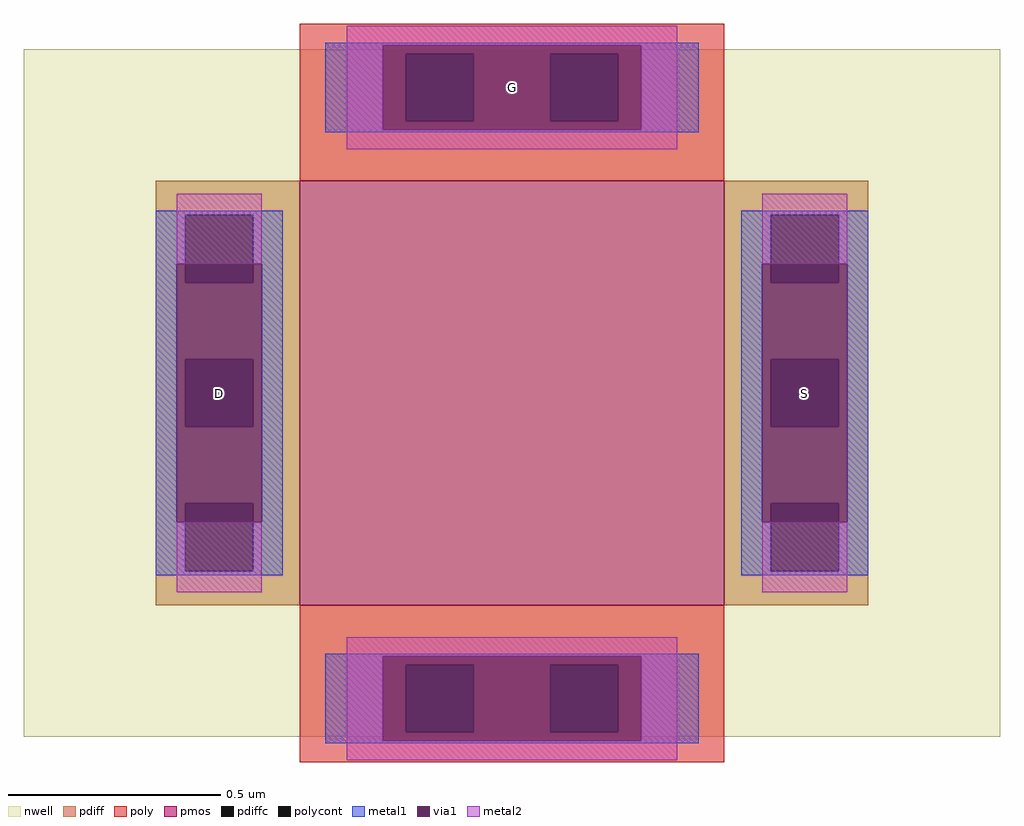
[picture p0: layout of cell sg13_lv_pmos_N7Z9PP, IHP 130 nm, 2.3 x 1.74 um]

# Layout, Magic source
magic
tech ihp-sg13g2
magscale 1 2
<< nwell >>
rect -230 -162 230 162
<< pmos >>
rect -100 -100 100 100
<< pdiff >>
rect -168 84 -100 100
rect -168 52 -154 84
rect -122 52 -100 84
rect -168 16 -100 52
rect -168 -16 -154 16
rect -122 -16 -100 16
rect -168 -52 -100 -16
rect -168 -84 -154 -52
rect -122 -84 -100 -52
rect -168 -100 -100 -84
rect 100 84 168 100
rect 100 52 122 84
rect 154 52 168 84
rect 100 16 168 52
rect 100 -16 122 16
rect 154 -16 168 16
rect 100 -52 168 -16
rect 100 -84 122 -52
rect 154 -84 168 -52
rect 100 -100 168 -84
<< pdiffc >>
rect -154 52 -122 84
rect -154 -16 -122 16
rect -154 -84 -122 -52
rect 122 52 154 84
rect 122 -16 154 16
rect 122 -84 154 -52
<< poly >>
rect -100 160 100 174
rect -100 128 -50 160
rect -18 128 18 160
rect 50 128 100 160
rect -100 100 100 128
rect -100 -128 100 -100
rect -100 -160 -50 -128
rect -18 -160 18 -128
rect 50 -160 100 -128
rect -100 -174 100 -160
<< polycont >>
rect -50 128 -18 160
rect 18 128 50 160
rect -50 -160 -18 -128
rect 18 -160 50 -128
<< metal1 >>
rect -88 164 88 165
rect -88 124 -61 164
rect 61 124 88 164
rect -88 123 88 124
rect -168 84 -108 86
rect -168 61 -154 84
rect -122 61 -108 84
rect -168 -61 -158 61
rect -118 -61 -108 61
rect -168 -84 -154 -61
rect -122 -84 -108 -61
rect -168 -86 -108 -84
rect 108 84 168 86
rect 108 61 122 84
rect 154 61 168 84
rect 108 -61 118 61
rect 158 -61 168 61
rect 108 -84 122 -61
rect 154 -84 168 -61
rect 108 -86 168 -84
rect -88 -124 88 -123
rect -88 -164 -61 -124
rect 61 -164 88 -124
rect -88 -165 88 -164
<< via1 >>
rect -61 160 61 164
rect -61 128 -50 160
rect -50 128 -18 160
rect -18 128 18 160
rect 18 128 50 160
rect 50 128 61 160
rect -61 124 61 128
rect -158 52 -154 61
rect -154 52 -122 61
rect -122 52 -118 61
rect -158 16 -118 52
rect -158 -16 -154 16
rect -154 -16 -122 16
rect -122 -16 -118 16
rect -158 -52 -118 -16
rect -158 -61 -154 -52
rect -154 -61 -122 -52
rect -122 -61 -118 -52
rect 118 52 122 61
rect 122 52 154 61
rect 154 52 158 61
rect 118 16 158 52
rect 118 -16 122 16
rect 122 -16 154 16
rect 154 -16 158 16
rect 118 -52 158 -16
rect 118 -61 122 -52
rect 122 -61 154 -52
rect 154 -61 158 -52
rect -61 -128 61 -124
rect -61 -160 -50 -128
rect -50 -160 -18 -128
rect -18 -160 18 -128
rect 18 -160 50 -128
rect 50 -160 61 -128
rect -61 -164 61 -160
<< metal2 >>
rect -78 164 78 173
rect -78 124 -61 164
rect 61 124 78 164
rect -78 115 78 124
rect -158 61 -118 94
rect -158 -94 -118 -61
rect 118 61 158 94
rect 118 -94 158 -61
rect -78 -124 78 -115
rect -78 -164 -61 -124
rect 61 -164 78 -124
rect -78 -173 78 -164
<< labels >>
rlabel metal1 s -138 0 -138 0 4 D
rlabel metal1 s 138 0 138 0 4 S
rlabel metal1 s 0 144 0 144 4 G
<< end >>
